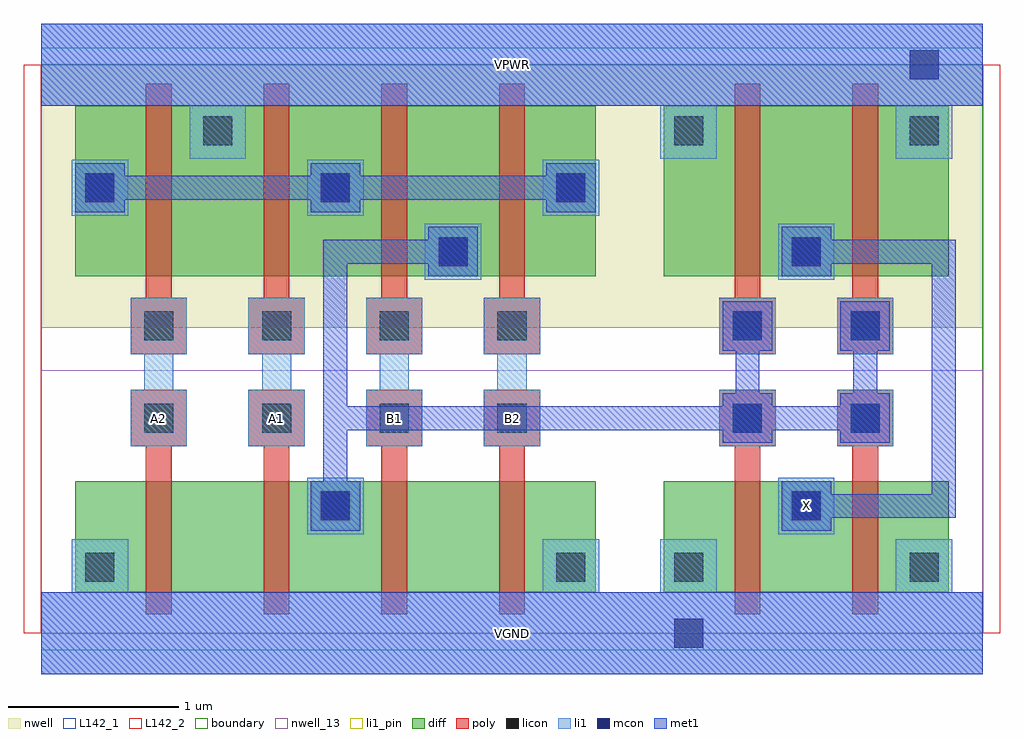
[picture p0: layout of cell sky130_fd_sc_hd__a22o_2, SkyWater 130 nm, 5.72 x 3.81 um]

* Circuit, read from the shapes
.subckt sky130_fd_sc_hd__a22o_2 A1 A2 B1 B2 VGND VPWR X
XM1 n1 A2 VGND VSUBS sky130_fd_pr__nfet_01v8 w=0.65 l=0.15
XM2 n2 A1 n1 VSUBS sky130_fd_pr__nfet_01v8 w=0.65 l=0.15
XM3 n3 B1 n2 VSUBS sky130_fd_pr__nfet_01v8 w=0.65 l=0.15
XM4 VGND B2 n3 VSUBS sky130_fd_pr__nfet_01v8 w=0.65 l=0.15
XM5 X n2 VGND VSUBS sky130_fd_pr__nfet_01v8 w=0.65 l=0.15 m=2
XM6 VPWR A2 n4 n5 sky130_fd_pr__pfet_01v8 w=1 l=0.15
XM7 n4 A1 VPWR n5 sky130_fd_pr__pfet_01v8 w=1 l=0.15
XM8 n2 B1 n4 n5 sky130_fd_pr__pfet_01v8 w=1 l=0.15
XM9 n4 B2 n2 n5 sky130_fd_pr__pfet_01v8 w=1 l=0.15
XM10 X n2 VPWR n5 sky130_fd_pr__pfet_01v8 w=1 l=0.15 m=2
.ends

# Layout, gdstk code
import gdstk
lib = gdstk.Library(unit=1e-6, precision=1e-09)
def R(c, l, rs):  # rectangles x0, y0, x1, y1
    for r in rs: c.add(gdstk.rectangle(r[:2], r[2:], *l))
def A(c, l, x, y, w, h, nx, ny, dx, dy):  # array of equal rectangles
    R(c, l, [(x+i*dx, y+j*dy, x+i*dx+w, y+j*dy+h) for i in range(nx) for j in range(ny)])
def P(c, l, *ps):  # polygons
    for p in ps: c.add(gdstk.Polygon(p, *l))
nwell_13 = (64, 13)
nwell = (64, 20)
diff = (65, 20)
poly = (66, 20)
licon = (66, 44)
li1_pin = (67, 16)
li1 = (67, 20)
mcon = (67, 44)
met1 = (68, 20)
L142_1 = (142, 1)
L142_2 = (142, 2)
boundary = (235, 4)

sky130_fd_sc_hd__a22o_2 = lib.new_cell('sky130_fd_sc_hd__a22o_2')
R(sky130_fd_sc_hd__a22o_2, nwell_13, [(0,0,5.52,1.54)])
R(sky130_fd_sc_hd__a22o_2, nwell, [(0,1.79,5.52,3.33)])
A(sky130_fd_sc_hd__a22o_2, diff, 0.615, 0.24, 0.69, 0.65, 3, 1, 0.69, 0)
A(sky130_fd_sc_hd__a22o_2, diff, 0.615, 2.09, 0.69, 1, 3, 1, 0.69, 0)
R(sky130_fd_sc_hd__a22o_2, diff, [(0.2,0.24,3.25,0.89), (0.2,0.24,0.615,0.89), (2.685,0.24,3.25,0.89), (3.65,0.24,5.32,0.89), (3.65,0.24,4.065,0.89), (4.065,0.24,4.755,0.89), (4.755,0.24,5.32,0.89), (0.2,2.09,3.25,3.09), (0.2,2.09,0.615,3.09), (2.685,2.09,3.25,3.09), (3.65,2.09,5.32,3.09), (3.65,2.09,4.065,3.09), (4.065,2.09,4.755,3.09), (4.755,2.09,5.32,3.09)])
P(sky130_fd_sc_hd__a22o_2, poly, [(2.685,0.11),(2.685,1.095),(2.595,1.095),(2.595,1.425),(2.925,1.425),(2.925,1.095),(2.835,1.095),(2.835,0.11)],
  [(2.595,1.635),(2.595,1.965),(2.685,1.965),(2.685,3.22),(2.835,3.22),(2.835,1.965),(2.925,1.965),(2.925,1.635)],
  [(4.065,0.11),(4.065,1.095),(3.975,1.095),(3.975,1.425),(4.305,1.425),(4.305,1.095),(4.215,1.095),(4.215,0.11)],
  [(4.755,0.11),(4.755,1.095),(4.665,1.095),(4.665,1.425),(4.995,1.425),(4.995,1.095),(4.905,1.095),(4.905,0.11)],
  [(3.975,1.635),(3.975,1.965),(4.065,1.965),(4.065,3.22),(4.215,3.22),(4.215,1.965),(4.305,1.965),(4.305,1.635)],
  [(4.665,1.635),(4.665,1.965),(4.755,1.965),(4.755,3.22),(4.905,3.22),(4.905,1.965),(4.995,1.965),(4.995,1.635)],
  [(0.615,0.11),(0.615,1.095),(0.525,1.095),(0.525,1.425),(0.855,1.425),(0.855,1.095),(0.765,1.095),(0.765,0.11)],
  [(0.525,1.635),(0.525,1.965),(0.615,1.965),(0.615,3.22),(0.765,3.22),(0.765,1.965),(0.855,1.965),(0.855,1.635)],
  [(1.305,0.11),(1.305,1.095),(1.215,1.095),(1.215,1.425),(1.545,1.425),(1.545,1.095),(1.455,1.095),(1.455,0.11)],
  [(1.215,1.635),(1.215,1.965),(1.305,1.965),(1.305,3.22),(1.455,3.22),(1.455,1.965),(1.545,1.965),(1.545,1.635)],
  [(1.995,0.11),(1.995,1.095),(1.905,1.095),(1.905,1.425),(2.235,1.425),(2.235,1.095),(2.145,1.095),(2.145,0.11)],
  [(1.905,1.635),(1.905,1.965),(1.995,1.965),(1.995,3.22),(2.145,3.22),(2.145,1.965),(2.235,1.965),(2.235,1.635)])
A(sky130_fd_sc_hd__a22o_2, licon, 0.605, 1.175, 0.17, 0.17, 4, 2, 0.69, 0.54)
A(sky130_fd_sc_hd__a22o_2, licon, 0.26, 2.525, 0.17, 0.17, 3, 1, 1.38, 0)
R(sky130_fd_sc_hd__a22o_2, licon, [(0.26,0.3,0.43,0.47), (3.02,0.3,3.19,0.47), (3.71,0.3,3.88,0.47), (5.09,0.3,5.26,0.47), (1.64,0.66,1.81,0.83), (4.4,0.66,4.57,0.83), (4.055,1.175,4.225,1.345), (4.745,1.175,4.915,1.345), (4.055,1.715,4.225,1.885), (4.745,1.715,4.915,1.885), (2.33,2.15,2.5,2.32), (4.4,2.15,4.57,2.32), (0.95,2.86,1.12,3.03), (3.71,2.86,3.88,3.03), (5.09,2.86,5.26,3.03)])
R(sky130_fd_sc_hd__a22o_2, li1_pin, [(0,-0.24,5.52,0.24), (4.32,0.58,4.65,0.91), (0,3.09,5.52,3.57)])
P(sky130_fd_sc_hd__a22o_2, li1_pin, [(2.595,1.095),(2.595,1.425),(2.675,1.425),(2.675,1.635),(2.595,1.635),(2.595,1.965),(2.925,1.965),(2.925,1.635),(2.845,1.635),(2.845,1.425),(2.925,1.425),(2.925,1.095)],
  [(0.525,1.095),(0.525,1.425),(0.605,1.425),(0.605,1.635),(0.525,1.635),(0.525,1.965),(0.855,1.965),(0.855,1.635),(0.775,1.635),(0.775,1.425),(0.855,1.425),(0.855,1.095)],
  [(1.905,1.095),(1.905,1.425),(1.985,1.425),(1.985,1.635),(1.905,1.635),(1.905,1.965),(2.235,1.965),(2.235,1.635),(2.155,1.635),(2.155,1.425),(2.235,1.425),(2.235,1.095)],
  [(1.215,1.095),(1.215,1.425),(1.295,1.425),(1.295,1.635),(1.215,1.635),(1.215,1.965),(1.545,1.965),(1.545,1.635),(1.465,1.635),(1.465,1.425),(1.545,1.425),(1.545,1.095)])
A(sky130_fd_sc_hd__a22o_2, li1, 0.18, 2.445, 0.33, 0.33, 3, 1, 1.38, 0)
R(sky130_fd_sc_hd__a22o_2, li1, [(1.56,0.58,1.89,0.91), (4.32,0.58,4.65,0.91), (3.975,1.095,4.305,1.425), (4.665,1.095,4.995,1.425), (3.975,1.635,4.305,1.965), (4.665,1.635,4.995,1.965), (2.25,2.07,2.58,2.4), (4.32,2.07,4.65,2.4)])
P(sky130_fd_sc_hd__a22o_2, li1, [(2.595,1.095),(2.595,1.425),(2.675,1.425),(2.675,1.635),(2.595,1.635),(2.595,1.965),(2.925,1.965),(2.925,1.635),(2.845,1.635),(2.845,1.425),(2.925,1.425),(2.925,1.095)],
  [(0.525,1.095),(0.525,1.425),(0.605,1.425),(0.605,1.635),(0.525,1.635),(0.525,1.965),(0.855,1.965),(0.855,1.635),(0.775,1.635),(0.775,1.425),(0.855,1.425),(0.855,1.095)],
  [(0.87,2.78),(0.87,3.09),(0,3.09),(0,3.57),(5.52,3.57),(5.52,3.09),(5.34,3.09),(5.34,2.78),(5.01,2.78),(5.01,3.09),(3.96,3.09),(3.96,2.78),(3.63,2.78),(3.63,3.09),(1.2,3.09),(1.2,2.78)],
  [(1.215,1.095),(1.215,1.425),(1.295,1.425),(1.295,1.635),(1.215,1.635),(1.215,1.965),(1.545,1.965),(1.545,1.635),(1.465,1.635),(1.465,1.425),(1.545,1.425),(1.545,1.095)],
  [(0,-0.24),(0,0.24),(0.18,0.24),(0.18,0.55),(0.51,0.55),(0.51,0.24),(2.94,0.24),(2.94,0.55),(3.27,0.55),(3.27,0.24),(3.63,0.24),(3.63,0.55),(3.96,0.55),(3.96,0.24),(5.01,0.24),(5.01,0.55),(5.34,0.55),(5.34,0.24),(5.52,0.24),(5.52,-0.24)],
  [(1.905,1.095),(1.905,1.425),(1.985,1.425),(1.985,1.635),(1.905,1.635),(1.905,1.965),(2.235,1.965),(2.235,1.635),(2.155,1.635),(2.155,1.425),(2.235,1.425),(2.235,1.095)])
A(sky130_fd_sc_hd__a22o_2, mcon, 0.26, 2.525, 0.17, 0.17, 3, 1, 1.38, 0)
R(sky130_fd_sc_hd__a22o_2, mcon, [(3.71,-0.085,3.88,0.085), (1.64,0.66,1.81,0.83), (4.4,0.66,4.57,0.83), (4.055,1.175,4.225,1.345), (4.745,1.175,4.915,1.345), (4.055,1.715,4.225,1.885), (4.745,1.715,4.915,1.885), (2.33,2.15,2.5,2.32), (4.4,2.15,4.57,2.32), (5.09,3.245,5.26,3.415)])
R(sky130_fd_sc_hd__a22o_2, met1, [(0,-0.24,5.52,0.24), (0,3.09,5.52,3.57)])
P(sky130_fd_sc_hd__a22o_2, met1, [(1.58,0.6),(1.58,0.89),(1.655,0.89),(1.655,2.305),(2.27,2.305),(2.27,2.38),(2.56,2.38),(2.56,2.09),(2.27,2.09),(2.27,2.165),(1.795,2.165),(1.795,1.33),(3.995,1.33),(3.995,1.405),(4.07,1.405),(4.07,1.655),(3.995,1.655),(3.995,1.945),(4.285,1.945),(4.285,1.655),(4.21,1.655),(4.21,1.405),(4.285,1.405),(4.285,1.33),(4.685,1.33),(4.685,1.405),(4.76,1.405),(4.76,1.655),(4.685,1.655),(4.685,1.945),(4.975,1.945),(4.975,1.655),(4.9,1.655),(4.9,1.405),(4.975,1.405),(4.975,1.115),(4.685,1.115),(4.685,1.19),(4.285,1.19),(4.285,1.115),(3.995,1.115),(3.995,1.19),(1.795,1.19),(1.795,0.89),(1.87,0.89),(1.87,0.6)],
  [(0.2,2.465),(0.2,2.755),(0.49,2.755),(0.49,2.68),(1.58,2.68),(1.58,2.755),(1.87,2.755),(1.87,2.68),(2.96,2.68),(2.96,2.755),(3.25,2.755),(3.25,2.465),(2.96,2.465),(2.96,2.54),(1.87,2.54),(1.87,2.465),(1.58,2.465),(1.58,2.54),(0.49,2.54),(0.49,2.465)],
  [(4.34,0.6),(4.34,0.89),(4.63,0.89),(4.63,0.815),(5.22,0.815),(5.22,2.165),(4.63,2.165),(4.63,2.09),(4.34,2.09),(4.34,2.38),(4.63,2.38),(4.63,2.305),(5.36,2.305),(5.36,0.675),(4.63,0.675),(4.63,0.6)])
R(sky130_fd_sc_hd__a22o_2, L142_1, [(0,-0.1,5.52,0), (0,3.33,5.52,3.43)])
R(sky130_fd_sc_hd__a22o_2, L142_2, [(-0.1,0,0,3.33), (5.52,0,5.62,3.33)])
R(sky130_fd_sc_hd__a22o_2, boundary, [(0,0,5.52,3.33)])
sky130_fd_sc_hd__a22o_2.add(gdstk.Label('X', (4.485,0.745), layer=67, texttype=5))
sky130_fd_sc_hd__a22o_2.add(gdstk.Label('B2', (2.76,1.26), layer=67, texttype=5))
sky130_fd_sc_hd__a22o_2.add(gdstk.Label('A2', (0.69,1.26), layer=67, texttype=5))
sky130_fd_sc_hd__a22o_2.add(gdstk.Label('B1', (2.07,1.26), layer=67, texttype=5))
sky130_fd_sc_hd__a22o_2.add(gdstk.Label('A1', (1.38,1.26), layer=67, texttype=5))
sky130_fd_sc_hd__a22o_2.add(gdstk.Label('VGND', (2.76,0), layer=67, texttype=5))
sky130_fd_sc_hd__a22o_2.add(gdstk.Label('VPWR', (2.76,3.33), layer=67, texttype=5))
sky130_fd_sc_hd__a22o_2.add(gdstk.Label('VGND', (2.76,0), layer=68, texttype=5))
sky130_fd_sc_hd__a22o_2.add(gdstk.Label('VPWR', (2.76,3.33), layer=68, texttype=5))

lib.write_gds('sky130_fd_sc_hd__a22o_2.gds')
